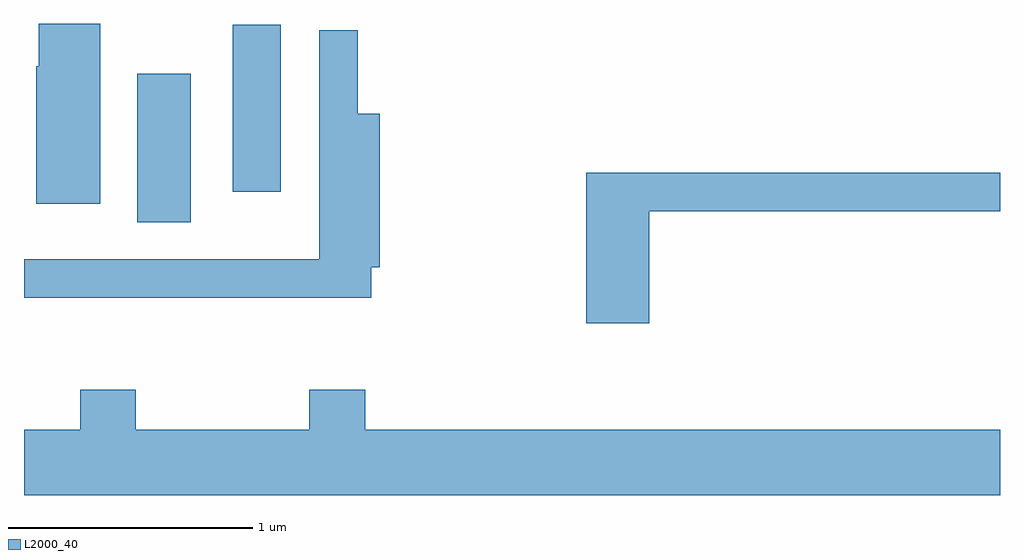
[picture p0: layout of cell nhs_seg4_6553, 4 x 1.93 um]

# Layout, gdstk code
import gdstk
lib = gdstk.Library(unit=1e-6, precision=1e-09)
def R(c, l, rs):  # rectangles x0, y0, x1, y1
    for r in rs: c.add(gdstk.rectangle(r[:2], r[2:], *l))
def P(c, l, *ps):  # polygons
    for p in ps: c.add(gdstk.Polygon(p, *l))
L2000_40 = (2000, 40)

nhs_seg4_6553 = lib.new_cell('nhs_seg4_6553')
R(nhs_seg4_6553, L2000_40, [(378.076,1306.956,378.294,1307.564), (378.466,1307.081,378.664,1307.764)])
P(nhs_seg4_6553, L2000_40, [(377.924,1307.769),(377.671,1307.769),(377.671,1307.595),(377.661,1307.595),(377.661,1307.031),(377.924,1307.031)],
  [(379.034,1306.771),(379.069,1306.771),(379.069,1307.399),(378.979,1307.399),(378.979,1307.743),(378.821,1307.743),(378.821,1306.804),(377.611,1306.804),(377.611,1306.646),(379.034,1306.646)],
  [(380.174,1307.001),(381.611,1307.001),(381.611,1307.159),(379.916,1307.159),(379.916,1306.541),(380.174,1306.541)],
  [(381.611,1306.104),(379.009,1306.104),(379.009,1306.269),(378.781,1306.269),(378.781,1306.104),(378.069,1306.104),(378.069,1306.269),(377.841,1306.269),(377.841,1306.104),(377.611,1306.104),(377.611,1305.836),(381.611,1305.836)])

lib.write_gds('nhs_seg4_6553.gds')
